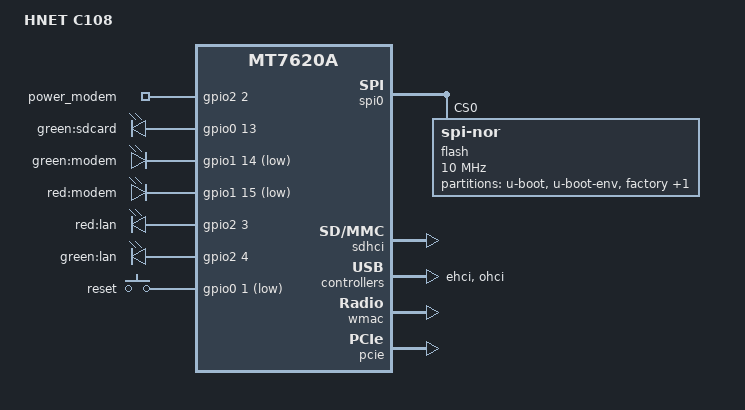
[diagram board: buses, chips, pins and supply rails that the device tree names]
// SPDX-License-Identifier: BSD-3-Clause
/*
 *  Copyright(c) 2017 Kristian Evensen <kristian.evensen@gmail.com>.
 *  All rights reserved.
 */

#include "mt7620a.dtsi"

#include <dt-bindings/gpio/gpio.h>
#include <dt-bindings/input/input.h>

/ {
	compatible = "hnet,c108", "ralink,mt7620a-soc";
	model = "HNET C108";

	aliases {
		led-boot = &led_lan_green;
		led-failsafe = &led_lan_green;
		led-running = &led_lan_green;
		led-upgrade = &led_lan_green;
	};

	chosen {
		bootargs = "console=ttyS0,115200";
	};

	gpio-export {
		compatible = "gpio-export";
		#size-cells = <0>;

		power_modem {
			gpio-export,name = "power_modem";
			gpio-export,output = <1>;
			gpios = <&gpio2 2 GPIO_ACTIVE_HIGH>;
		};
	};

	leds {
		compatible = "gpio-leds";

		sdcard {
			label = "green:sdcard";
			gpios = <&gpio0 13 GPIO_ACTIVE_HIGH>;
		};

		modem_green {
			label = "green:modem";
			gpios = <&gpio1 14 GPIO_ACTIVE_LOW>;
		};

		modem_red {
			label = "red:modem";
			gpios = <&gpio1 15 GPIO_ACTIVE_LOW>;
		};

		lan_red {
			label = "red:lan";
			gpios = <&gpio2 3 GPIO_ACTIVE_HIGH>;
		};

		led_lan_green: lan_green {
			label = "green:lan";
			gpios = <&gpio2 4 GPIO_ACTIVE_HIGH>;
		};
	};

	keys {
		compatible = "gpio-keys";

		reset {
			label = "reset";
			gpios = <&gpio0 1 GPIO_ACTIVE_LOW>;
			linux,code = <KEY_RESTART>;
		};
	};
};

&gpio1 {
	status = "okay";
};

&gpio2 {
	status = "okay";
};

&spi0 {
	status = "okay";

	flash@0 {
		compatible = "jedec,spi-nor";
		reg = <0>;
		spi-max-frequency = <10000000>;

		partitions {
			compatible = "fixed-partitions";
			#address-cells = <1>;
			#size-cells = <1>;

			partition@0 {
				label = "u-boot";
				reg = <0x0 0x30000>;
				read-only;
			};

			partition@30000 {
				label = "u-boot-env";
				reg = <0x30000 0x10000>;
				read-only;
			};

			factory: partition@40000 {
				label = "factory";
				reg = <0x40000 0x10000>;
				read-only;
			};

			partition@50000 {
				compatible = "denx,uimage";
				label = "firmware";
				reg = <0x50000 0xfb0000>;
			};
		};
	};
};

&sdhci {
	status = "okay";
};

&ehci {
	status = "okay";
};

&ohci {
	status = "okay";
};

&ethernet {
	nvmem-cells = <&macaddr_factory_28>;
	nvmem-cell-names = "mac-address";
};

&wmac {
	ralink,mtd-eeprom = <&factory 0x0>;
};

&state_default {
	default {
		groups = "i2c", "uartf", "spi refclk", "ephy";
		function = "gpio";
	};
};

&pcie {
	status = "okay";
};

&factory {
	compatible = "nvmem-cells";
	#address-cells = <1>;
	#size-cells = <1>;

	macaddr_factory_28: macaddr@28 {
		reg = <0x28 0x6>;
	};
};
